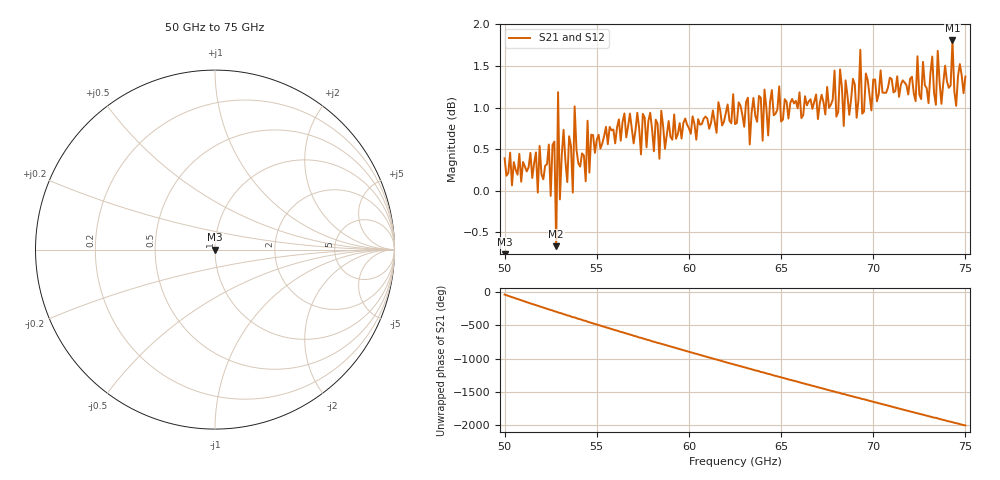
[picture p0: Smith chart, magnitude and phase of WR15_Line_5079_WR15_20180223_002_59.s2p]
# GHZ S RI R 50
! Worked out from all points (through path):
!   251 points, 50 GHz to 75 GHz, reference 50 ohm
!   highest |S21| = 1.81 dB at 74.3 GHz (marker M1); lowest = -0.7 dB at 52.8 GHz (marker M2)
!   lowest |S11| = - dB at 50 GHz (marker M3), VSWR 1.00, Z = 50 + j2.57e-15 ohm
!   |S11| at or under -10 dB: start of sweep to end of sweep
!   |S22| runs from - to - dB; largest |S21 - S12| = 1e-14
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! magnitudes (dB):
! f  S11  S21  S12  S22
! 50 GHz  -  0.4  0.4  -
! 52.4 GHz  -  0.6  0.6  -
! 52.5 GHz  -  -0.1  -0.1  -
! 52.7 GHz  -  0.6  0.6  -
! 52.8 GHz  -  -0.7  -0.7  -
! 52.9 GHz  -  1.2  1.2  -
! 53 GHz  -  -0.1  -0.1  -
! 53.2 GHz  -  0.7  0.7  -
! 53.7 GHz  -  0.0  0.0  -
! 53.8 GHz  -  1.0  1.0  -
! 54.2 GHz  -  0.4  0.4  -
! 58.4 GHz  -  0.4  0.4  -
! 58.5 GHz  -  1.0  1.0  -
! 62.5 GHz  -  0.8  0.8  -
! 66.7 GHz  -  1.0  1.0  -
! 70.9 GHz  -  1.4  1.4  -
! 73.4 GHz  -  1.0  1.0  -
! 73.5 GHz  -  1.7  1.7  -
! 73.7 GHz  -  1.0  1.0  -
! 74.3 GHz  -  1.8  1.8  -
! 74.5 GHz  -  1.0  1.0  -
! 75 GHz  -  1.4  1.4  -
